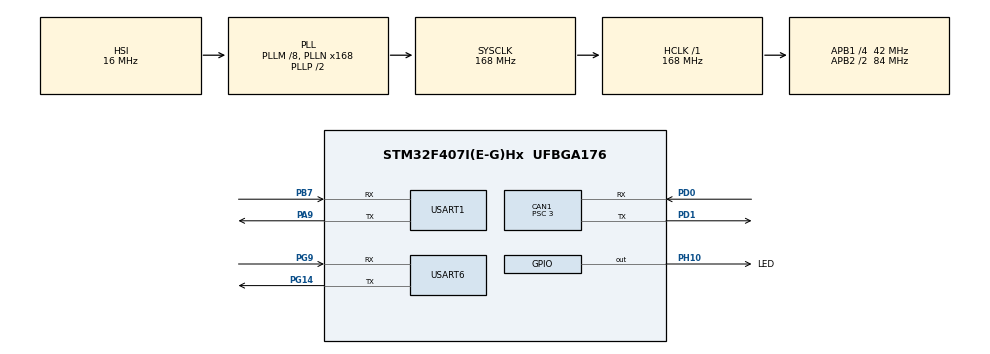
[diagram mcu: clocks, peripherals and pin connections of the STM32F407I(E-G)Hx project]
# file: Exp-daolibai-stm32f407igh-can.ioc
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CAN1.ABOM=ENABLE
CAN1.BS1=CAN_BS1_9TQ
CAN1.BS2=CAN_BS2_4TQ
CAN1.CalculateBaudRate=1000000
CAN1.CalculateTimeBit=999.99
CAN1.CalculateTimeQuantum=71.42857142857143
CAN1.Prescaler=3
Mcu.Family=STM32F4
Mcu.Name=STM32F407I(E-G)Hx
Mcu.Package=UFBGA176
NVIC.CAN1_RX0_IRQn=true\:0\:0\:false\:false\:true\:true\:true
NVIC.CAN1_TX_IRQn=true\:0\:0\:false\:false\:true\:true\:true
NVIC.PriorityGroup=NVIC_PRIORITYGROUP_4
NVIC.USART1_IRQn=true\:0\:0\:false\:false\:true\:true\:true
NVIC.USART6_IRQn=true\:0\:0\:false\:false\:true\:true\:true
PA13.Mode=Serial_Wire
PA13.Signal=SYS_JTMS-SWDIO
PA14.Mode=Serial_Wire
PA14.Signal=SYS_JTCK-SWCLK
PA9.Mode=Asynchronous
PA9.Signal=USART1_TX
PB7.Mode=Asynchronous
PB7.Signal=USART1_RX
PC14-OSC32_IN.Mode=LSE-External-Oscillator
PC14-OSC32_IN.Signal=RCC_OSC32_IN
PC15-OSC32_OUT.Mode=LSE-External-Oscillator
PC15-OSC32_OUT.Signal=RCC_OSC32_OUT
PD0.Mode=CAN_Activate
PD0.Signal=CAN1_RX
PD1.Mode=CAN_Activate
PD1.Signal=CAN1_TX
PG14.Mode=Asynchronous
PG14.Signal=USART6_TX
PG9.Mode=Asynchronous
PG9.Signal=USART6_RX
PH0-OSC_IN.Mode=HSE-External-Oscillator
PH0-OSC_IN.Signal=RCC_OSC_IN
PH1-OSC_OUT.Mode=HSE-External-Oscillator
PH1-OSC_OUT.Signal=RCC_OSC_OUT
PH10.GPIO_Label=LED
PH10.PinState=GPIO_PIN_SET
PH10.Signal=GPIO_Output
ProjectManager.HeapSize=0x200
ProjectManager.StackSize=0x400
ProjectManager.TargetToolchain=MDK-ARM V5
RCC.48MHZClocksFreq_Value=84000000
RCC.AHBFreq_Value=168000000
RCC.APB1CLKDivider=RCC_HCLK_DIV4
RCC.APB1Freq_Value=42000000
RCC.APB1TimFreq_Value=84000000
RCC.APB2CLKDivider=RCC_HCLK_DIV2
RCC.APB2Freq_Value=84000000
RCC.APB2TimFreq_Value=168000000
RCC.CortexFreq_Value=168000000
RCC.HCLKFreq_Value=168000000
RCC.HSE_VALUE=12000000
RCC.HSI_VALUE=16000000
RCC.PLLM=8
RCC.PLLN=168
RCC.SYSCLKFreq_VALUE=168000000
RCC.SYSCLKSource=RCC_SYSCLKSOURCE_PLLCLK
RCC.VCOOutputFreq_Value=336000000
USART1.VirtualMode=VM_ASYNC
USART6.VirtualMode=VM_ASYNC
board=custom

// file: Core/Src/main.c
/* USER CODE BEGIN Header */
/**
  ******************************************************************************
  * @file           : main.c
  * @brief          : Main program body
  ******************************************************************************
  * @attention
  *
  * <h2><center>&copy; Copyright (c) 2021 STMicroelectronics.
  * All rights reserved.</center></h2>
  *
  * This software component is licensed by ST under BSD 3-Clause license,
  * the "License"; You may not use this file except in compliance with the
  * License. You may obtain a copy of the License at:
  *                        opensource.org/licenses/BSD-3-Clause
  *
  ******************************************************************************
  */
/* USER CODE END Header */
#include "main.h"
#include "can.h"
#include "usart.h"
#include "gpio.h"

/* USER CODE BEGIN Includes */
#include "bsp_can.h"
#include "pid.h"
#include <stdio.h>
#include <string.h>

/* USER CODE END Includes */

void SystemClock_Config(void);

/* USER CODE BEGIN 0 */
PID_TypeDef motor_pid[4];
int32_t set_spd = 0;
/* USER CODE END 0 */

int main(void)
{
  /* USER CODE BEGIN 1 */
	// const uint8_t SendBuffer[4]={0x03,0xFC,0xFC,0x03};  // 帧头
  /* USER CODE END 1 */

  /* MCU Configuration--------------------------------------------------------*/

  /* Reset of all peripherals, Initializes the Flash interface and the Systick. */
  HAL_Init();

  /* Configure the system clock */
  SystemClock_Config();

  /* Initialize all configured peripherals */
  MX_GPIO_Init();
  MX_CAN1_Init();
  MX_USART1_UART_Init();
  MX_USART6_UART_Init();
  /* USER CODE BEGIN 2 */

	HAL_CAN_Start(&hcan1);
	my_can_filter_init_recv_all(&hcan1);
	HAL_CAN_ActivateNotification(&hcan1, CAN_IT_RX_FIFO0_MSG_PENDING);  // enable IT

  /* USER CODE END 2 */

  /* Infinite loop */
  /* USER CODE BEGIN WHILE */
	set_spd = 500;  // set speed (rpm)
  for(int i=0; i<4; i++)
  {
    pid_init(&motor_pid[i]);
    motor_pid[i].f_param_init(&motor_pid[i],PID_Speed,16384,5000,10,0,8000,0,1.5,0.05,0);  //PID参数初始化
  }

  while (1)
  {
    /* USER CODE END WHILE */

    /* USER CODE BEGIN 3 */

		/* 山外调试助手虚拟示波器 Virtual oscilloscope */
		/*
		HAL_UART_Transmit(&huart1, (uint8_t *)&SendBuffer[0], 1, 0x0a);
		HAL_UART_Transmit(&huart1, (uint8_t *)&SendBuffer[1], 1, 0x0a);
		HAL_UART_Transmit(&huart1, (uint8_t *)&moto_chassis[0].speed_rpm, sizeof(int16_t), 0x0a);
		HAL_UART_Transmit(&huart1, (uint8_t *)&SendBuffer[2], 1, 0x0a);
		HAL_UART_Transmit(&huart1, (uint8_t *)&SendBuffer[3], 1, 0x0a);
		*/
		/**************************************************************/

		/* PID calculation & motor output */
		for(int i=0; i<4; i++)
    {
      motor_pid[i].target = set_spd;
      motor_pid[i].f_cal_pid(&motor_pid[i],moto_chassis[i].speed_rpm);    //根据设定值进行PID计算。
    }
    set_moto_current(&hcan1, motor_pid[0].output,   //将PID的计算结果通过CAN发送到电机
                        motor_pid[1].output,
                        motor_pid[2].output,
                        motor_pid[3].output);
		/**************************************************************/

		HAL_Delay(10);  // 100hz
  }
  /* USER CODE END 3 */
}

void SystemClock_Config(void)
{
  RCC_OscInitTypeDef RCC_OscInitStruct = {0};
  RCC_ClkInitTypeDef RCC_ClkInitStruct = {0};

  /** Configure the main internal regulator output voltage
  */
  __HAL_RCC_PWR_CLK_ENABLE();
  __HAL_PWR_VOLTAGESCALING_CONFIG(PWR_REGULATOR_VOLTAGE_SCALE1);
  /** Initializes the RCC Oscillators according to the specified parameters
  * in the RCC_OscInitTypeDef structure.
  */
  RCC_OscInitStruct.OscillatorType = RCC_OSCILLATORTYPE_HSI;
  RCC_OscInitStruct.HSIState = RCC_HSI_ON;
  RCC_OscInitStruct.HSICalibrationValue = RCC_HSICALIBRATION_DEFAULT;
  RCC_OscInitStruct.PLL.PLLState = RCC_PLL_ON;
  RCC_OscInitStruct.PLL.PLLSource = RCC_PLLSOURCE_HSI;
  RCC_OscInitStruct.PLL.PLLM = 8;
  RCC_OscInitStruct.PLL.PLLN = 168;
  RCC_OscInitStruct.PLL.PLLP = RCC_PLLP_DIV2;
  RCC_OscInitStruct.PLL.PLLQ = 4;
  if (HAL_RCC_OscConfig(&RCC_OscInitStruct) != HAL_OK)
  {
    Error_Handler();
  }
  /** Initializes the CPU, AHB and APB buses clocks
  */
  RCC_ClkInitStruct.ClockType = RCC_CLOCKTYPE_HCLK|RCC_CLOCKTYPE_SYSCLK
                              |RCC_CLOCKTYPE_PCLK1|RCC_CLOCKTYPE_PCLK2;
  RCC_ClkInitStruct.SYSCLKSource = RCC_SYSCLKSOURCE_PLLCLK;
  RCC_ClkInitStruct.AHBCLKDivider = RCC_SYSCLK_DIV1;
  RCC_ClkInitStruct.APB1CLKDivider = RCC_HCLK_DIV4;
  RCC_ClkInitStruct.APB2CLKDivider = RCC_HCLK_DIV2;

  if (HAL_RCC_ClockConfig(&RCC_ClkInitStruct, FLASH_LATENCY_5) != HAL_OK)
  {
    Error_Handler();
  }
}

/* USER CODE BEGIN 4 */

int fputc(int ch, FILE *f)
{
  HAL_UART_Transmit(&huart1, (uint8_t *)&ch, 1, 0xffff);
  return ch;
}
int fgetc(FILE *f)
{
  uint8_t ch = 0;
  HAL_UART_Receive(&huart1, &ch, 1, 0xffff);
  return ch;
}

/* USER CODE END 4 */

void Error_Handler(void)
{
  __disable_irq();
  while (1)
  {
  }
}

/************************ (C) COPYRIGHT STMicroelectronics *****END OF FILE****/
